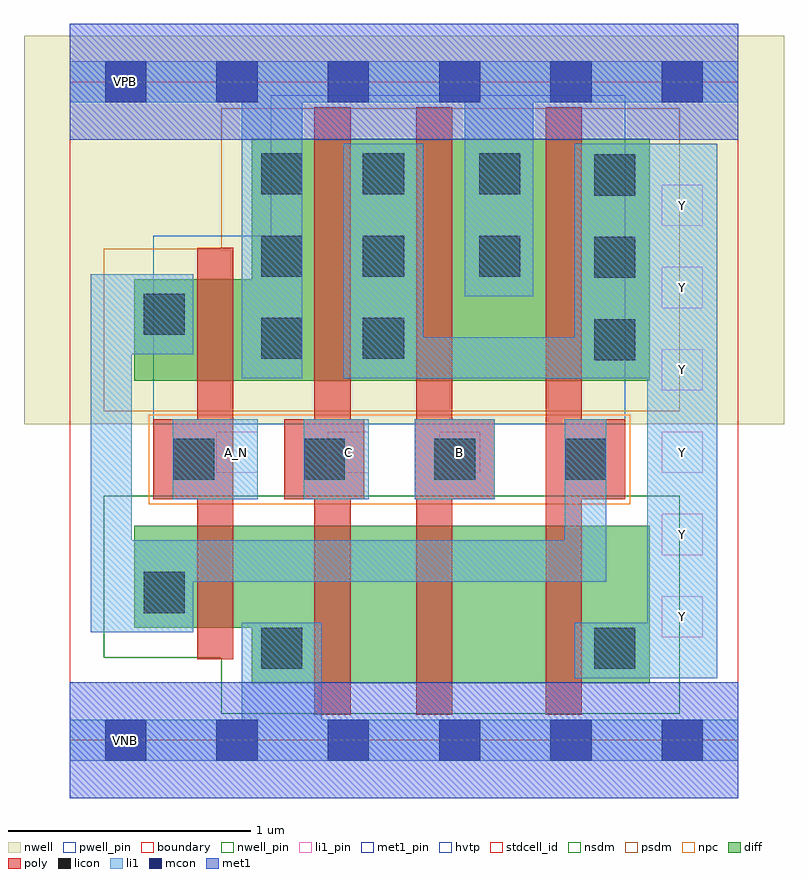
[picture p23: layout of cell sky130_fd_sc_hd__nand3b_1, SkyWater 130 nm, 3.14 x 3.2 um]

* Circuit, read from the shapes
.subckt sky130_fd_sc_hd__nand3b_1 A_N B C VGND VNB VPB VPWR Y
XM1 VGND A_N n1 VNB sky130_fd_pr__nfet_01v8 w=0.42 l=0.15
XM2 n2 C VGND VNB sky130_fd_pr__nfet_01v8 w=0.65 l=0.15
XM3 n3 B n2 VNB sky130_fd_pr__nfet_01v8 w=0.65 l=0.15
XM4 Y n1 n3 VNB sky130_fd_pr__nfet_01v8 w=0.65 l=0.15
XM5 VPWR A_N n1 VPB sky130_fd_pr__pfet_01v8_hvt w=0.42 l=0.15
XM6 Y C VPWR VPB sky130_fd_pr__pfet_01v8_hvt w=1 l=0.15
XM7 VPWR B Y VPB sky130_fd_pr__pfet_01v8_hvt w=1 l=0.15
XM8 Y n1 VPWR VPB sky130_fd_pr__pfet_01v8_hvt w=1 l=0.15
.ends

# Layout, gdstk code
import gdstk
lib = gdstk.Library(unit=1e-6, precision=1e-09)
def R(c, l, rs):  # rectangles x0, y0, x1, y1
    for r in rs: c.add(gdstk.rectangle(r[:2], r[2:], *l))
def A(c, l, x, y, w, h, nx, ny, dx, dy):  # array of equal rectangles
    R(c, l, [(x+i*dx, y+j*dy, x+i*dx+w, y+j*dy+h) for i in range(nx) for j in range(ny)])
nwell_pin = (64, 16)
nwell = (64, 20)
diff = (65, 20)
poly = (66, 20)
licon = (66, 44)
li1_pin = (67, 16)
li1 = (67, 20)
mcon = (67, 44)
met1_pin = (68, 16)
met1 = (68, 20)
hvtp = (78, 44)
stdcell_id = (81, 4)
nsdm = (93, 44)
psdm = (94, 20)
npc = (95, 20)
pwell_pin = (122, 16)
boundary = (235, 4)

sky130_fd_sc_hd__nand3b_ = lib.new_cell('sky130_fd_sc_hd__nand3b_1')
R(sky130_fd_sc_hd__nand3b_, nwell_pin, [(0.145,2.635,0.315,2.805)])
R(sky130_fd_sc_hd__nand3b_, nwell, [(-0.19,1.305,2.95,2.91)])
R(sky130_fd_sc_hd__nand3b_, diff, [(0.75,0.235,2.395,0.465), (0.265,0.465,2.395,0.885), (0.265,1.485,2.395,1.905), (0.75,1.905,2.395,2.485)])
A(sky130_fd_sc_hd__nand3b_, poly, 0.345, 0.995, 0.33, 0.33, 4, 1, 0.54, 0)
R(sky130_fd_sc_hd__nand3b_, poly, [(1.01,0.105,1.16,0.995), (1.43,0.105,1.58,0.995), (1.965,0.105,2.115,0.995), (0.525,0.335,0.675,0.995), (0.525,1.325,0.675,2.035), (1.01,1.325,1.16,2.615), (1.43,1.325,1.58,2.615), (1.965,1.325,2.115,2.615)])
A(sky130_fd_sc_hd__nand3b_, licon, 0.425, 1.075, 0.17, 0.17, 4, 1, 0.54, 0)
A(sky130_fd_sc_hd__nand3b_, licon, 2.165, 1.57, 0.17, 0.17, 1, 3, 0, 0.34)
A(sky130_fd_sc_hd__nand3b_, licon, 0.79, 1.575, 0.17, 0.17, 1, 3, 0, 0.34)
A(sky130_fd_sc_hd__nand3b_, licon, 1.21, 1.575, 0.17, 0.17, 1, 3, 0, 0.34)
R(sky130_fd_sc_hd__nand3b_, licon, [(0.79,0.295,0.96,0.465), (2.165,0.295,2.335,0.465), (0.305,0.525,0.475,0.695), (0.305,1.675,0.475,1.845), (1.69,1.915,1.86,2.085), (1.69,2.255,1.86,2.425)])
A(sky130_fd_sc_hd__nand3b_, li1_pin, 2.445, 0.425, 0.17, 0.17, 1, 6, 0, 0.34)
A(sky130_fd_sc_hd__nand3b_, li1_pin, 0.605, 1.105, 0.17, 0.17, 3, 1, 0.46, 0)
R(sky130_fd_sc_hd__nand3b_, li1, [(0,-0.085,2.76,0.085), (0.71,0.085,1.04,0.485), (2.085,0.255,2.675,0.485), (0.085,0.445,0.51,0.655), (2.385,0.485,2.675,1.495), (0.085,0.655,2.215,0.825), (0.085,0.825,0.255,1.595), (2.045,0.825,2.215,1.325), (0.425,0.995,0.775,1.325), (0.965,0.995,1.235,1.325), (1.425,0.995,1.755,1.325), (0.71,1.495,0.96,2.635), (1.13,1.495,2.675,1.665), (0.085,1.595,0.51,1.925), (1.13,1.665,1.46,2.465), (2.085,1.665,2.675,2.465), (1.63,1.835,1.915,2.635), (0,2.635,2.76,2.805)])
A(sky130_fd_sc_hd__nand3b_, mcon, 0.145, -0.085, 0.17, 0.17, 6, 2, 0.46, 2.72)
R(sky130_fd_sc_hd__nand3b_, met1_pin, [(0.145,-0.085,0.315,0.085), (0.145,2.635,0.315,2.805)])
R(sky130_fd_sc_hd__nand3b_, met1, [(0,-0.24,2.76,0.24), (0,2.48,2.76,2.96)])
R(sky130_fd_sc_hd__nand3b_, hvtp, [(0.345,1.305,2.295,2.085), (0.83,2.085,2.295,2.665)])
R(sky130_fd_sc_hd__nand3b_, stdcell_id, [(0,0,2.76,2.72)])
R(sky130_fd_sc_hd__nand3b_, nsdm, [(0.625,0.11,2.52,0.34), (0.14,0.34,2.52,1.01)])
R(sky130_fd_sc_hd__nand3b_, psdm, [(0.14,1.36,2.52,2.03), (0.625,2.03,2.52,2.61)])
R(sky130_fd_sc_hd__nand3b_, npc, [(0.325,0.975,2.315,1.345)])
R(sky130_fd_sc_hd__nand3b_, pwell_pin, [(0.145,-0.085,0.315,0.085)])
R(sky130_fd_sc_hd__nand3b_, boundary, [(0,0,2.76,2.72)])
sky130_fd_sc_hd__nand3b_.add(gdstk.Label('VPB', (0.23,2.72), layer=64, texttype=5))
sky130_fd_sc_hd__nand3b_.add(gdstk.Label('VNB', (0.23,0), layer=64, texttype=59))
sky130_fd_sc_hd__nand3b_.add(gdstk.Label('VGND', (0.23,0), layer=68, texttype=5))
sky130_fd_sc_hd__nand3b_.add(gdstk.Label('VPWR', (0.23,2.72), layer=68, texttype=5))
sky130_fd_sc_hd__nand3b_.add(gdstk.Label('Y', (2.53,2.21), layer=67, texttype=5))
sky130_fd_sc_hd__nand3b_.add(gdstk.Label('Y', (2.53,1.87), layer=67, texttype=5))
sky130_fd_sc_hd__nand3b_.add(gdstk.Label('Y', (2.53,1.53), layer=67, texttype=5))
sky130_fd_sc_hd__nand3b_.add(gdstk.Label('Y', (2.53,1.19), layer=67, texttype=5))
sky130_fd_sc_hd__nand3b_.add(gdstk.Label('Y', (2.53,0.85), layer=67, texttype=5))
sky130_fd_sc_hd__nand3b_.add(gdstk.Label('Y', (2.53,0.51), layer=67, texttype=5))
sky130_fd_sc_hd__nand3b_.add(gdstk.Label('B', (1.61,1.19), layer=67, texttype=5))
sky130_fd_sc_hd__nand3b_.add(gdstk.Label('C', (1.15,1.19), layer=67, texttype=5))
sky130_fd_sc_hd__nand3b_.add(gdstk.Label('A_N', (0.69,1.19), layer=67, texttype=5))

lib.write_gds('sky130_fd_sc_hd__nand3b_1.gds')
